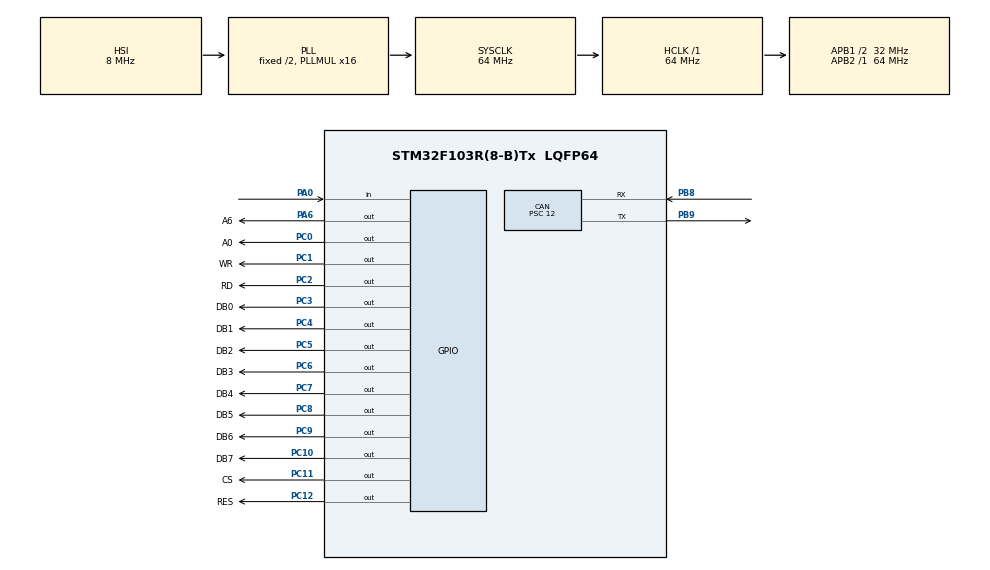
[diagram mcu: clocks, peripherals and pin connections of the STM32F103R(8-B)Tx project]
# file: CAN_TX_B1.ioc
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CAN.BS1=CAN_BS1_13TQ
CAN.BS2=CAN_BS2_2TQ
CAN.CalculateBaudRate=166666
CAN.CalculateTimeBit=6000.00
CAN.CalculateTimeQuantum=375.0
CAN.Prescaler=12
Mcu.Family=STM32F1
Mcu.Name=STM32F103R(8-B)Tx
Mcu.Package=LQFP64
NVIC.PriorityGroup=NVIC_PRIORITYGROUP_4
PA0-WKUP.GPIO_PuPd=GPIO_PULLDOWN
PA0-WKUP.Signal=GPIO_Input
PA13.Mode=Serial_Wire
PA13.Signal=SYS_JTMS-SWDIO
PA14.Mode=Serial_Wire
PA14.Signal=SYS_JTCK-SWCLK
PA6.GPIO_Label=A6
PA6.Signal=GPIO_Output
PB3.Signal=SYS_JTDO-TRACESWO
PB8.Mode=CAN_Activate
PB8.Signal=CAN_RX
PB9.Mode=CAN_Activate
PB9.Signal=CAN_TX
PC0.GPIO_Label=A0
PC0.Signal=GPIO_Output
PC1.GPIO_Label=WR
PC1.Signal=GPIO_Output
PC10.GPIO_Label=DB7
PC10.Signal=GPIO_Output
PC11.GPIO_Label=CS
PC11.Signal=GPIO_Output
PC12.GPIO_Label=RES
PC12.Signal=GPIO_Output
PC14-OSC32_IN.Mode=LSE-External-Oscillator
PC14-OSC32_IN.Signal=RCC_OSC32_IN
PC15-OSC32_OUT.Mode=LSE-External-Oscillator
PC15-OSC32_OUT.Signal=RCC_OSC32_OUT
PC2.GPIO_Label=RD
PC2.Signal=GPIO_Output
PC3.GPIO_Label=DB0
PC3.Signal=GPIO_Output
PC4.GPIO_Label=DB1
PC4.Signal=GPIO_Output
PC5.GPIO_Label=DB2
PC5.Signal=GPIO_Output
PC6.GPIO_Label=DB3
PC6.Signal=GPIO_Output
PC7.GPIO_Label=DB4
PC7.Signal=GPIO_Output
PC8.GPIO_Label=DB5
PC8.Signal=GPIO_Output
PC9.GPIO_Label=DB6
PC9.Signal=GPIO_Output
PD0-OSC_IN.Mode=HSE-External-Oscillator
PD0-OSC_IN.Signal=RCC_OSC_IN
PD1-OSC_OUT.Mode=HSE-External-Oscillator
PD1-OSC_OUT.Signal=RCC_OSC_OUT
ProjectManager.HeapSize=0x200
ProjectManager.StackSize=0x400
ProjectManager.TargetToolchain=STM32CubeIDE
RCC.AHBFreq_Value=64000000
RCC.APB1CLKDivider=RCC_HCLK_DIV2
RCC.APB1Freq_Value=32000000
RCC.APB1TimFreq_Value=64000000
RCC.APB2Freq_Value=64000000
RCC.APB2TimFreq_Value=64000000
RCC.HCLKFreq_Value=64000000
RCC.PLLMUL=RCC_PLL_MUL16
RCC.SYSCLKFreq_VALUE=64000000
RCC.SYSCLKSource=RCC_SYSCLKSOURCE_PLLCLK
RCC.USBFreq_Value=64000000
board=custom

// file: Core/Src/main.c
/* USER CODE BEGIN Header */
/**
  ******************************************************************************
  * @file           : main.c
  * @brief          : Main program body
  ******************************************************************************
  * @attention
  *
  * <h2><center>&copy; Copyright (c) 2021 STMicroelectronics.
  * All rights reserved.</center></h2>
  *
  * This software component is licensed by ST under BSD 3-Clause license,
  * the "License"; You may not use this file except in compliance with the
  * License. You may obtain a copy of the License at:
  *                        opensource.org/licenses/BSD-3-Clause
  *
  ******************************************************************************
  */
/* USER CODE END Header */
#include "main.h"
#include "can.h"
#include "gpio.h"

/* USER CODE BEGIN PV */

// CAN variables
CAN_TxHeaderTypeDef CAN_tx_header0;
CAN_TxHeaderTypeDef CAN_tx_header1;
CAN_TxHeaderTypeDef CAN_tx_header2;
CAN_TxHeaderTypeDef CAN_tx_header3;
CAN_TxHeaderTypeDef CAN_tx_header4;
CAN_TxHeaderTypeDef CAN_tx_header5;
CAN_TxHeaderTypeDef CAN_tx_header6;
CAN_TxHeaderTypeDef CAN_tx_header7;
CAN_TxHeaderTypeDef CAN_tx_header8;
CAN_TxHeaderTypeDef CAN_tx_header9;
CAN_TxHeaderTypeDef CAN_tx_header10;

uint8_t CAN_tx_data[8] = {
	  'H',
	  'E',
	  'L',
	  'L',
	  'O',
	  'A',
	  'B',
	  'C'
};
uint32_t mailbox;

/* USER CODE END PV */

void SystemClock_Config(void);

int main(void)
{

  /* MCU Configuration--------------------------------------------------------*/

  /* Reset of all peripherals, Initializes the Flash interface and the Systick. */
  HAL_Init();

  /* Configure the system clock */
  SystemClock_Config();

  /* Initialize all configured peripherals */
  MX_GPIO_Init();
  MX_CAN_Init();
  /* USER CODE BEGIN 2 */

  // Start CAN Module (4)
  HAL_CAN_Start(&hcan);

  // CAN transmitting
  CanTransmitSetup();

  // CAN Testing Temporary
  CAN_TxHeaderTypeDef tx_headers[] = {
		  CAN_tx_header0,
		  CAN_tx_header1,
		  CAN_tx_header2,
		  CAN_tx_header3,
		  CAN_tx_header4,
		  CAN_tx_header5,
		  CAN_tx_header6,
		  CAN_tx_header7,
		  CAN_tx_header8,
		  CAN_tx_header9,
		  CAN_tx_header10

  };
  int total_tx_headers = sizeof(tx_headers)/sizeof(CAN_TxHeaderTypeDef);

  HAL_GPIO_WritePin(GPIOA, GPIO_PIN_0, 0);	// set to low
  HAL_GPIO_WritePin(GPIOA, GPIO_PIN_6, 0); 	// reset blinker

  /* USER CODE END 2 */

  /* Infinite loop */
  /* USER CODE BEGIN WHILE */
  while (1)
  {
	  // NIC blue led

	  /*
	  // Transmit on BUTTON PRESS A0
	  if (HAL_GPIO_ReadPin(GPIOA, GPIO_PIN_0) == 1)
	  {
		  if(HAL_CAN_AddTxMessage(&hcan, &CAN_tx_header1, CAN_tx_data, &mailbox) != HAL_OK) {
			  Error_Handler();
		  }
	  }
	  */

	  // Transmit different IDs from a FOR LOOP
	  for (int i = 0; i < total_tx_headers; i++)
	  {
		  if(HAL_CAN_AddTxMessage(&hcan, &tx_headers[i], CAN_tx_data, &mailbox) != HAL_OK) {
			  Error_Handler();
		  }
		  // Send message blinker: blinks i times where i is header number
		  for (int blinks = total_tx_headers - (i + 1); blinks < total_tx_headers; blinks++)
		  {
			  HAL_GPIO_WritePin(GPIOA, GPIO_PIN_6, 1);
			  HAL_Delay(100);
			  HAL_GPIO_WritePin(GPIOA, GPIO_PIN_6, 0);
			  HAL_Delay(100);
		  }
		  // Delay before next message
		  HAL_Delay(1000);
	  }

	  /*
	  // Message pending blinker
	  while(HAL_CAN_IsTxMessagePending(&hcan, mailbox) ) {
		  // stale when message waiting to send
		  HAL_GPIO_WritePin(GPIOA, GPIO_PIN_6, 1);
	  }
	  HAL_GPIO_WritePin(GPIOA, GPIO_PIN_6, 0); // reset pending transmit status led
	  */
  }

    /* USER CODE END WHILE */

}

void SystemClock_Config(void)
{
  RCC_OscInitTypeDef RCC_OscInitStruct = {0};
  RCC_ClkInitTypeDef RCC_ClkInitStruct = {0};

  /** Initializes the RCC Oscillators according to the specified parameters
  * in the RCC_OscInitTypeDef structure.
  */
  RCC_OscInitStruct.OscillatorType = RCC_OSCILLATORTYPE_HSI;
  RCC_OscInitStruct.HSIState = RCC_HSI_ON;
  RCC_OscInitStruct.HSICalibrationValue = RCC_HSICALIBRATION_DEFAULT;
  RCC_OscInitStruct.PLL.PLLState = RCC_PLL_ON;
  RCC_OscInitStruct.PLL.PLLSource = RCC_PLLSOURCE_HSI_DIV2;
  RCC_OscInitStruct.PLL.PLLMUL = RCC_PLL_MUL16;
  if (HAL_RCC_OscConfig(&RCC_OscInitStruct) != HAL_OK)
  {
    Error_Handler();
  }
  /** Initializes the CPU, AHB and APB buses clocks
  */
  RCC_ClkInitStruct.ClockType = RCC_CLOCKTYPE_HCLK|RCC_CLOCKTYPE_SYSCLK
                              |RCC_CLOCKTYPE_PCLK1|RCC_CLOCKTYPE_PCLK2;
  RCC_ClkInitStruct.SYSCLKSource = RCC_SYSCLKSOURCE_PLLCLK;
  RCC_ClkInitStruct.AHBCLKDivider = RCC_SYSCLK_DIV1;
  RCC_ClkInitStruct.APB1CLKDivider = RCC_HCLK_DIV2;
  RCC_ClkInitStruct.APB2CLKDivider = RCC_HCLK_DIV1;

  if (HAL_RCC_ClockConfig(&RCC_ClkInitStruct, FLASH_LATENCY_2) != HAL_OK)
  {
    Error_Handler();
  }
}

void Error_Handler(void)
{
  __disable_irq();
  while (1)
  {
  }
}

/************************ (C) COPYRIGHT STMicroelectronics *****END OF FILE****/
